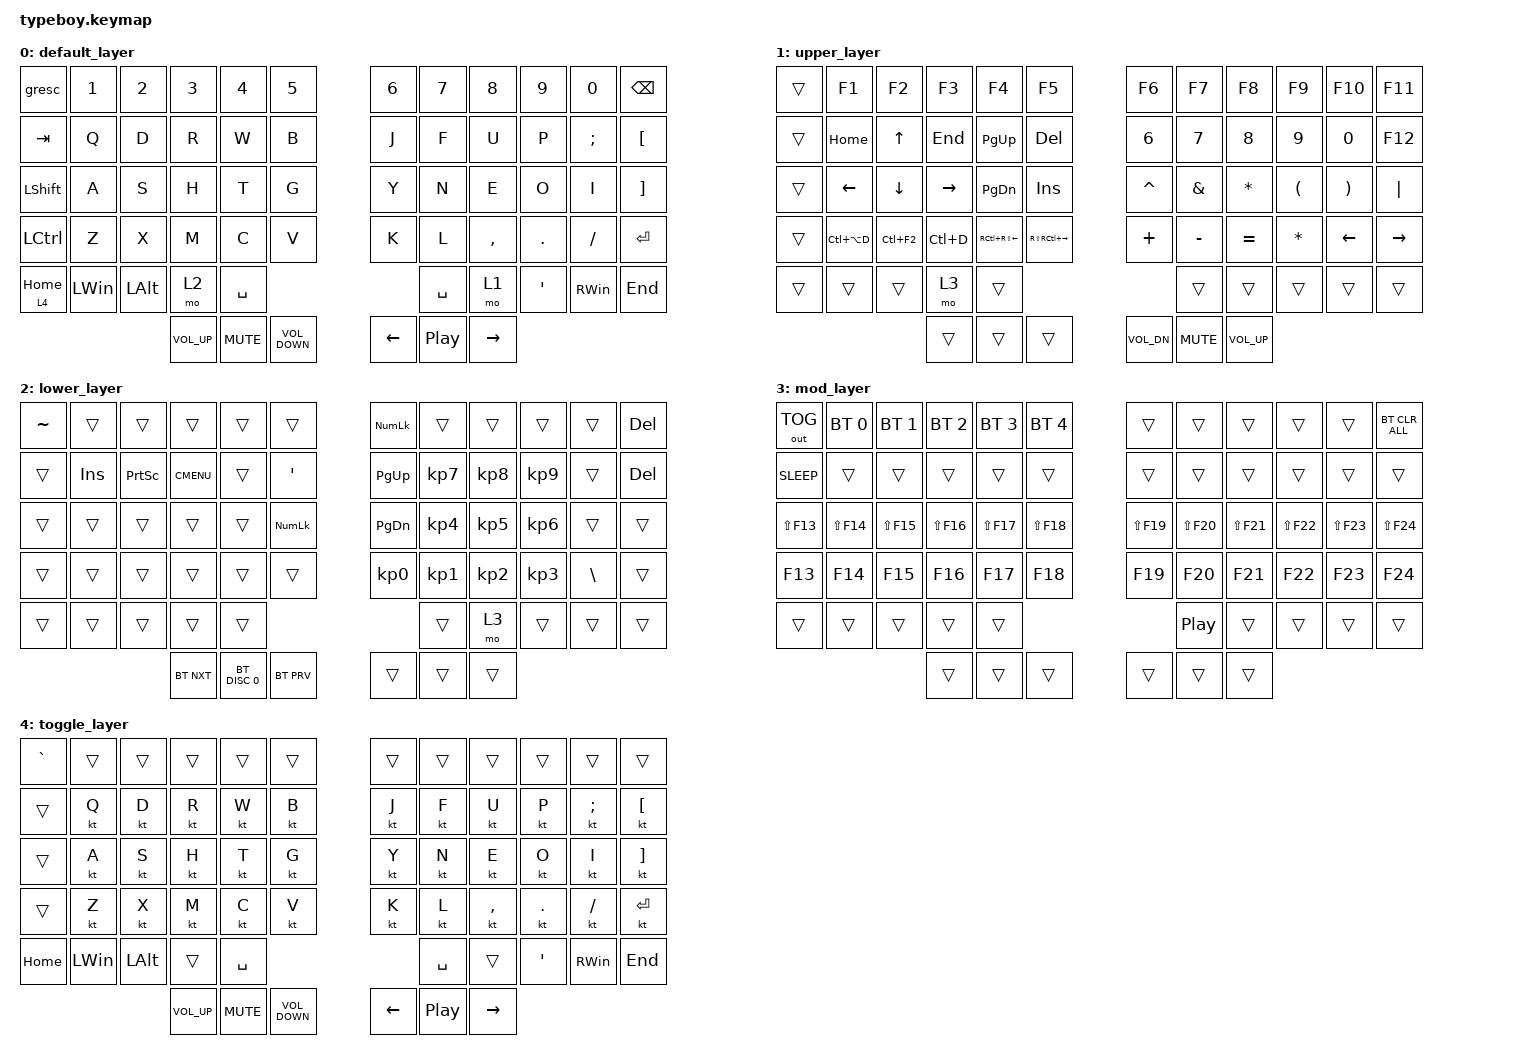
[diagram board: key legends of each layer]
#include <behaviors.dtsi>
#include <dt-bindings/zmk/bt.h>
#include <dt-bindings/zmk/keys.h>
#include <dt-bindings/zmk/keys.h>
#include <dt-bindings/zmk/outputs.h>

/ {
    behaviors {
        graveEscape: graveEscape {
            compatible = "zmk,behavior-mod-morph";
            label = "GRAVEESCAPE";
            bindings = <&kp ESCAPE>, <&kp TILDE>;

            #binding-cells = <0>;
            mods = <(MOD_LSFT)>;
            keep-mods = <(MOD_LSFT)>;
        };
    };

    keymap {
        compatible = "zmk,keymap";

        default_layer {
            // ,-----------------------------------------.               ,-----------------------------------------.
            // |  `   |  1   |  2   |  3   |  4   |  5   |               |  6   |  7   |  8   |  9   |  0   |  -   |
            // |------+------+------+------+------+------|               |------+------+------+------+------+------|
            // | Esc  |  Q   |  D   |  R   |  W   |  B   |               |  J   |  F   |  U   |  P   |  ;   | BSPC |
            // |------+------+------+------+------+------|               |------+------+------+------+------+------|
            // | Tab  |  A   |  S   |  H   |  T   |  G   |               |  Y   |  N   |  E   |  O   |  I   |  '   |
            // |------+------+------+------+------+------+------. .------+------+------+------+------+------+------|
            // | Shift|  Z   |  X   |  M   |  C   |  V   |      | |      |  K   |  L   |  <   |  >   |  /   | Shift|
            // `-------------+------+------+------+------| Enter| | Space|------+------+------+------+------+------'
            //               | Ctrl | Alt  | Cmd  | Lower|      | |      | Raise| Cmd  | Alt  | Ctrl |
            //               `----------------------------------' '----------------------------------'

            bindings = <
&gresc           &kp N1      &kp N2             &kp N3          &kp N4            &kp N5                                 &kp N6  &kp N7            &kp N8         &kp N9      &kp N0         &kp BACKSPACE
&kp TAB          &kp Q       &kp D              &kp R           &kp W             &kp B                                  &kp J   &kp F             &kp U          &kp P       &kp SEMICOLON  &kp LEFT_BRACKET
&kp LEFT_SHIFT   &kp A       &kp S              &kp H           &kp T             &kp G                                  &kp Y   &kp N             &kp E          &kp O       &kp I          &kp RIGHT_BRACKET
&kp LCTRL        &kp Z       &kp X              &kp M           &kp C             &kp V                                  &kp K   &kp L             &kp COMMA      &kp PERIOD  &kp SLASH      &kp ENTER
                             &lt 4 HOME         &kp LEFT_WIN    &kp LEFT_ALT      &mo 2            &kp SPACE  &kp SPACE  &mo 1   &kp SINGLE_QUOTE  &kp RIGHT_WIN  &kp END
&kp C_VOLUME_UP  &kp C_MUTE  &kp C_VOLUME_DOWN  &kp LEFT_ARROW  &kp C_PLAY_PAUSE  &kp RIGHT_ARROW
            >;
        };

        upper_layer {
            // ,-----------------------------------------.               ,-----------------------------------------.
            // |      |  F1  |  F2  |  F3  |  F4  |  F5  |               |  F6  |  F7  |  F8  |  F9  | F10  | F11  |
            // |------+------+------+------+------+------|               |------+------+------+------+------+------|
            // |      |  1   |  2   |  3   |  4   |  5   |               |  6   |  7   |  8   |  9   |  0   | F12  |
            // |------+------+------+------+------+------|               |------+------+------+------+------+------|
            // |      |  !   |  @   |  #   |  $   |  %   |               |  ^   |  &   |  *   |  (   |  )   |  |   |
            // |------+------+------+------+------+------+------. .------+------+------+------+------+------+------|
            // |      |  =   |  -   |  +   |  {   |  }   |      | |      |  [   |  ]   |  ;   |  :   |  \   |      |
            // `-------------+------+------+------+------|      | |      |------+------+------+------+------+------'
            //               |      |      |      |      |      | |      | Lower|      |      |      |
            //               `----------------------------------' '----------------------------------'

            bindings = <
&trans  &kp F1         &kp F2      &kp F3        &kp F4            &kp F5                             &kp F6     &kp F7     &kp F8     &kp F9        &kp F10         &kp F11
&trans  &kp HOME       &kp UP      &kp END       &kp PAGE_UP       &kp DELETE                         &kp N6     &kp N7     &kp N8     &kp N9        &kp N0          &kp F12
&trans  &kp LEFT       &kp DOWN    &kp RIGHT     &kp PAGE_DOWN     &kp INSERT                         &kp CARET  &kp AMPS   &kp ASTRK  &kp LPAR      &kp RPAR        &kp PIPE
&trans  &kp LC(LA(D))  &kp LC(F2)  &kp LC(D)     &kp RC(RS(LEFT))  &kp RS(RC(RIGHT))                  &kp PLUS   &kp MINUS  &kp EQUAL  &kp ASTERISK  &kp LEFT_ARROW  &kp RIGHT_ARROW
                       &trans      &trans        &trans            &mo 3              &trans  &trans  &trans     &trans     &trans     &trans
&trans  &trans         &trans      &kp C_VOL_DN  &kp K_MUTE        &kp C_VOLUME_UP
            >;
        };

        lower_layer {
            // ,-----------------------------------------.               ,-----------------------------------------.
            // |      |      |      |      |      |      |               |      |      |      |      |      |      |
            // |------+------+------+------+------+------|               |------+------+------+------+------+------|
            // |      | INS  | PSCRN| MENU |      | Scll |               | PG UP|      |  Up  |      |      | Del  |
            // |------+------+------+------+------+------|               |------+------+------+------+------+------|
            // |      |      |      |      |      | Caps |               | PG DN| Left | Down | Right|      |      |
            // |------+------+------+------+------+------+------. .------+------+------+------+------+------+------|
            // |      |      |      |      |      |      |      | |      |      | LStr |      | LEnd |      |      |
            // `-------------+------+------+------+------|      | |      |------+------+------+------+------+------'
            //               |      |      |      | Upper|      | |      |      |      |      |      |
            //               `----------------------------------' '----------------------------------'

            bindings = <
&kp TILDE   &trans         &trans      &trans       &trans  &trans                            &kp KP_NUMLOCK   &trans           &trans           &trans           &trans         &kp DEL
&trans      &kp INS        &kp PSCRN   &kp K_CMENU  &trans  &kp SINGLE_QUOTE                  &kp PG_UP        &kp KP_NUMBER_7  &kp KP_NUMBER_8  &kp KP_N9        &trans         &kp DEL
&trans      &trans         &trans      &trans       &trans  &kp KP_NUMLOCK                    &kp PG_DN        &kp KP_NUMBER_4  &kp KP_NUMBER_5  &kp KP_NUMBER_6  &trans         &trans
&trans      &trans         &trans      &trans       &trans  &trans                            &kp KP_NUMBER_0  &kp KP_NUMBER_1  &kp KP_NUMBER_2  &kp KP_NUMBER_3  &kp BACKSLASH  &trans
                           &trans      &trans       &trans  &trans            &trans  &trans  &mo 3            &trans           &trans           &trans
&bt BT_NXT  &bt BT_DISC 0  &bt BT_PRV  &trans       &trans  &trans
            >;
        };

        mod_layer {
            // ,-----------------------------------------.               ,-----------------------------------------.
            // |BT CLR| BT1  | BT2  | BT3  | BT4  | BT5  |               |      |      |      |      |      |      |
            // |------+------+------+------+------+------|               |------+------+------+------+------+------|
            // | Sleep|      |      |      |      |      |               |      |      |      |      |      |      |
            // |------+------+------+------+------+------|               |------+------+------+------+------+------|
            // |      |      |      |      |      |      |               |      | VolDn| Mute | VolUp|      |      |
            // |------+------+------+------+------+------+------. .------+------+------+------+------+------+------|
            // |      |      |      |      |      |      |      | |      |      | Prev | Play | Next |      |      |
            // `-------------+------+------+------+------|      | |      |------+------+------+------+------+------'
            //               |      |      |      |      |      | |      |      |      |      |      |
            //               `----------------------------------' '----------------------------------'

            bindings = <
&out OUT_TOG  &bt BT_SEL 0  &bt BT_SEL 1  &bt BT_SEL 2  &bt BT_SEL 3  &bt BT_SEL 4                            &trans       &trans       &trans       &trans       &trans       &bt BT_CLR_ALL
&kp K_SLEEP   &trans        &trans        &trans        &trans        &trans                                  &trans       &trans       &trans       &trans       &trans       &trans
&kp LS(F13)   &kp LS(F14)   &kp LS(F15)   &kp LS(F16)   &kp LS(F17)   &kp LS(F18)                             &kp LS(F19)  &kp LS(F20)  &kp LS(F21)  &kp LS(F22)  &kp LS(F23)  &kp LS(F24)
&kp F13       &kp F14       &kp F15       &kp F16       &kp F17       &kp F18                                 &kp F19      &kp F20      &kp F21      &kp F22      &kp F23      &kp F24
                            &trans        &trans        &trans        &trans        &trans  &kp C_PLAY_PAUSE  &trans       &trans       &trans       &trans
&trans        &trans        &trans        &trans        &trans        &trans
            >;
        };

        toggle_layer {
            // ,-----------------------------------------.               ,-----------------------------------------.
            // |  `   |      |      |      |      |      |               |      |      |      |      |      |      |
            // |------+------+------+------+------+------|               |------+------+------+------+------+------|
            // |      |  Q   |  D   |  R   |  W   |  B   |               |  J   |  F   |  U   |  P   |  ;   | BSPC |
            // |------+------+------+------+------+------|               |------+------+------+------+------+------|
            // |      |  A   |  S   |  H   |  T   |  G   |               |  Y   |  N   |  E   |  O   |  I   |  '   |
            // |------+------+------+------+------+------+------. .------+------+------+------+------+------+------|
            // |      |  Z   |  X   |  M   |  C   |  V   |      | |      |  K   |  L   |  <   |  >   |  /   |      |
            // `-------------+------+------+------+------| Space| | Space|------+------+------+------+------+------'
            //               |      |      |      |      |      | |      |      |      |      |      |
            //               `----------------------------------' '----------------------------------'

            bindings = <
&kp GRAVE        &trans      &trans             &trans          &trans            &trans                                 &trans  &trans            &trans         &trans      &trans         &trans
&trans           &kt Q       &kt D              &kt R           &kt W             &kt B                                  &kt J   &kt F             &kt U          &kt P       &kt SEMICOLON  &kt LEFT_BRACKET
&trans           &kt A       &kt S              &kt H           &kt T             &kt G                                  &kt Y   &kt N             &kt E          &kt O       &kt I          &kt RIGHT_BRACKET
&trans           &kt Z       &kt X              &kt M           &kt C             &kt V                                  &kt K   &kt L             &kt COMMA      &kt PERIOD  &kt SLASH      &kt ENTER
                             &kp HOME           &kp LEFT_WIN    &kp LEFT_ALT      &trans           &kp SPACE  &kp SPACE  &trans  &kp SINGLE_QUOTE  &kp RIGHT_WIN  &kp END
&kp C_VOLUME_UP  &kp C_MUTE  &kp C_VOLUME_DOWN  &kp LEFT_ARROW  &kp C_PLAY_PAUSE  &kp RIGHT_ARROW
            >;
        };
    };
};
